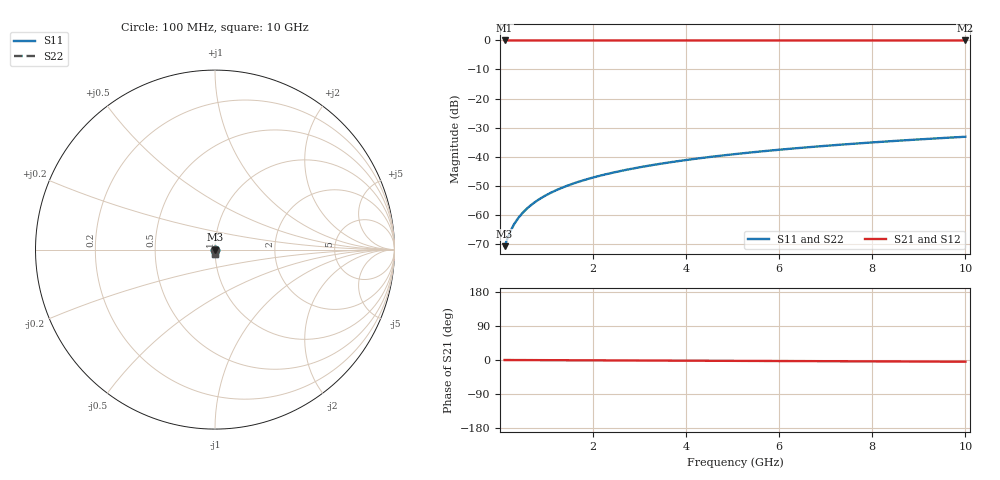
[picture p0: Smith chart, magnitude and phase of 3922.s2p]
# Hz S RI R 50.00
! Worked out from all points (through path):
!   100 points, 100 MHz to 10 GHz, reference 50 ohm
!   highest |S21| = 0.00 dB at 100 MHz (marker M1); lowest = 0.0 dB at 10 GHz (marker M2)
!   lowest |S11| = -70.8 dB at 100 MHz (marker M3), VSWR 1.00, Z = 50 - j0.0218 ohm
!   |S11| at or under -10 dB: start of sweep to end of sweep
!   |S22| runs from -70.8 to -33.2 dB; largest |S21 - S12| = 0
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1e8  0.000188 -0.000218  0.9998 -0.000783  0.9998 -0.000783  0.000188 -0.000218
2e8  0.000188 -0.000436  0.9998 -0.00157  0.9998 -0.00157  0.000188 -0.000436
3e8  0.000187 -0.000654  0.9998 -0.00235  0.9998 -0.00235  0.000187 -0.000654
4e8  0.000186 -0.000872  0.9998 -0.00313  0.9998 -0.00313  0.000186 -0.000872
5e8  0.000185 -0.00109  0.9998 -0.00391  0.9998 -0.00391  0.000185 -0.00109
6e8  0.000183 -0.00131  0.9998 -0.0047  0.9998 -0.0047  0.000183 -0.00131
7e8  0.000181 -0.00153  0.9998 -0.00548  0.9998 -0.00548  0.000181 -0.00153
8e8  0.000179 -0.00174  0.9998 -0.00626  0.9998 -0.00626  0.000179 -0.00174
9e8  0.000176 -0.00196  0.9998 -0.00704  0.9998 -0.00704  0.000176 -0.00196
1.1e9  0.000169 -0.0024  0.9998 -0.00861  0.9998 -0.00861  0.000169 -0.0024
1.4e9  0.000156 -0.00305  0.9997 -0.011  0.9997 -0.011  0.000156 -0.00305
1.8e9  0.000133 -0.00393  0.9997 -0.0141  0.9997 -0.0141  0.000133 -0.00393
2.1e9  0.000113 -0.00458  0.9996 -0.0164  0.9996 -0.0164  0.000113 -0.00458
2.5e9  8.04e-05 -0.00546  0.9996 -0.0196  0.9996 -0.0196  8.04e-05 -0.00546
2.9e9  4.25e-05 -0.00634  0.9995 -0.0227  0.9995 -0.0227  4.25e-05 -0.00634
3.4e9  -1.27e-05 -0.00743  0.9994 -0.0266  0.9994 -0.0266  -1.27e-05 -0.00743
4.2e9  -0.000119 -0.00919  0.9992 -0.0329  0.9992 -0.0329  -0.000119 -0.00919
5.1e9  -0.000265 -0.0112  0.9989 -0.04  0.9989 -0.04  -0.000265 -0.0112
5.9e9  -0.000419 -0.0129  0.9986 -0.0463  0.9986 -0.0463  -0.000419 -0.0129
6.7e9  -0.000596 -0.0147  0.9983 -0.0526  0.9983 -0.0526  -0.000596 -0.0147
8.4e9  -0.00105 -0.0184  0.9974 -0.066  0.9974 -0.066  -0.00105 -0.0184
1e10  -0.00156 -0.0219  0.9964 -0.0787  0.9964 -0.0787  -0.00156 -0.0219
